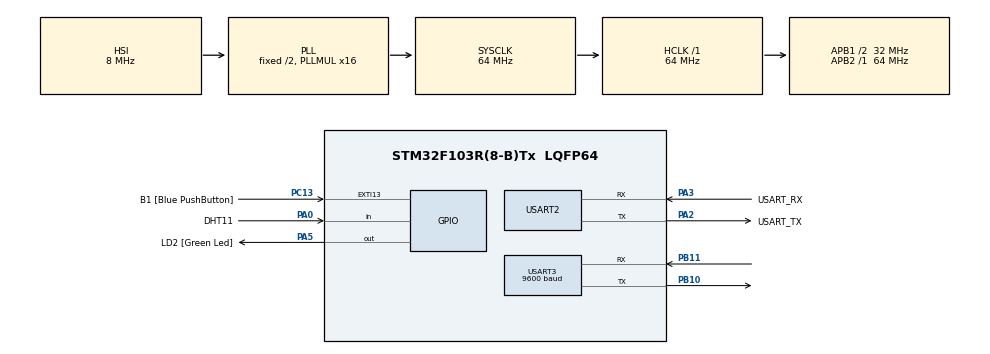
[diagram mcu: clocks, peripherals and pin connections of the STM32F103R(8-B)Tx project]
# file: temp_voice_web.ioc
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Mcu.Family=STM32F1
Mcu.Name=STM32F103R(8-B)Tx
Mcu.Package=LQFP64
NVIC.EXTI15_10_IRQn=true\:0\:0\:false\:false\:true\:true\:true\:true
NVIC.PriorityGroup=NVIC_PRIORITYGROUP_4
PA0-WKUP.GPIO_Label=DHT11
PA0-WKUP.Signal=GPIO_Input
PA13.GPIO_Label=TMS
PA13.Mode=Serial_Wire
PA13.Signal=SYS_JTMS-SWDIO
PA14.GPIO_Label=TCK
PA14.Mode=Serial_Wire
PA14.Signal=SYS_JTCK-SWCLK
PA2.GPIO_Label=USART_TX
PA2.GPIO_Mode=GPIO_MODE_AF_PP
PA2.GPIO_PuPd=GPIO_NOPULL
PA2.GPIO_Speed=GPIO_SPEED_FREQ_LOW
PA2.Mode=Asynchronous
PA2.Signal=USART2_TX
PA3.GPIO_Label=USART_RX
PA3.GPIO_Mode=GPIO_MODE_AF_PP
PA3.GPIO_PuPd=GPIO_NOPULL
PA3.GPIO_Speed=GPIO_SPEED_FREQ_LOW
PA3.Mode=Asynchronous
PA3.Signal=USART2_RX
PA5.GPIO_Label=LD2 [Green Led]
PA5.GPIO_ModeDefaultOutputPP=GPIO_MODE_OUTPUT_PP
PA5.GPIO_PuPd=GPIO_NOPULL
PA5.GPIO_Speed=GPIO_SPEED_FREQ_LOW
PA5.Signal=GPIO_Output
PB10.Mode=Asynchronous
PB10.Signal=USART3_TX
PB11.Mode=Asynchronous
PB11.Signal=USART3_RX
PB3.GPIO_Label=SWO
PB3.Signal=SYS_JTDO-TRACESWO
PC13-TAMPER-RTC.GPIO_Label=B1 [Blue PushButton]
PC13-TAMPER-RTC.GPIO_PuPd=GPIO_NOPULL
PC13-TAMPER-RTC.Signal=GPXTI13
PC14-OSC32_IN.Signal=RCC_OSC32_IN
PC15-OSC32_OUT.Signal=RCC_OSC32_OUT
PD0-OSC_IN.Signal=RCC_OSC_IN
PD1-OSC_OUT.Signal=RCC_OSC_OUT
ProjectManager.HeapSize=0x200
ProjectManager.StackSize=0x400
ProjectManager.TargetToolchain=STM32CubeIDE
RCC.AHBFreq_Value=64000000
RCC.APB1CLKDivider=RCC_HCLK_DIV2
RCC.APB1Freq_Value=32000000
RCC.APB1TimFreq_Value=64000000
RCC.APB2Freq_Value=64000000
RCC.APB2TimFreq_Value=64000000
RCC.HCLKFreq_Value=64000000
RCC.PLLMUL=RCC_PLL_MUL16
RCC.RTCClockSelection=RCC_RTCCLKSOURCE_LSE
RCC.SYSCLKFreq_VALUE=64000000
RCC.SYSCLKSource=RCC_SYSCLKSOURCE_PLLCLK
RCC.USBFreq_Value=64000000
TIM2.Prescaler=64-1
USART2.VirtualMode=VM_ASYNC
USART3.BaudRate=9600
USART3.VirtualMode=VM_ASYNC
VP_TIM2_VS_ClockSourceINT.Mode=Internal
board=NUCLEO-F103RB

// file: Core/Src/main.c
/* USER CODE BEGIN Header */
/**
  ******************************************************************************
  * @file           : main.c
  * @brief          : Main program body
  ******************************************************************************
  * @attention
  *
  * Copyright (c) 2025 STMicroelectronics.
  * All rights reserved.
  *
  * This software is licensed under terms that can be found in the LICENSE file
  * in the root directory of this software component.
  * If no LICENSE file comes with this software, it is provided AS-IS.
  *
  ******************************************************************************
  */
/* USER CODE END Header */
#include "main.h"

/* USER CODE BEGIN Includes */
#include <stdio.h>
#include <string.h>
#include "DHT11.h"
/* USER CODE END Includes */

TIM_HandleTypeDef htim2;

UART_HandleTypeDef huart2;
UART_HandleTypeDef huart3;

/* USER CODE BEGIN PV */
uint8_t rx_dat;
DHT11_Data dht11_data;
char buff[100];
/* USER CODE END PV */

void SystemClock_Config(void);
static void MX_GPIO_Init(void);
static void MX_USART2_UART_Init(void);
static void MX_TIM2_Init(void);
static void MX_USART3_UART_Init(void);
/* USER CODE BEGIN PFP */
void DHT11_SetPinOutput(void);
void DHT11_SetPinInput(void);
void DHT11_SetPin(GPIO_PinState state);
GPIO_PinState DHT11_ReadPin(void);
void DHT11_DelayUs(uint32_t us);
uint8_t DHT11_Start(void);
uint8_t DHT11_ReadBit(void);
uint8_t DHT11_ReadByte(void);
uint8_t DHT11_ReadData(DHT11_Data *data);
/* USER CODE END PFP */

int main(void)
{

  /* MCU Configuration--------------------------------------------------------*/

  /* Reset of all peripherals, Initializes the Flash interface and the Systick. */
  HAL_Init();

  /* Configure the system clock */
  SystemClock_Config();

  /* Initialize all configured peripherals */
  MX_GPIO_Init();
  MX_USART2_UART_Init();
  MX_TIM2_Init();
  MX_USART3_UART_Init();
  /* USER CODE BEGIN 2 */
  HAL_TIM_Base_Start(&htim2);
  /* USER CODE END 2 */

  /* Infinite loop */
  /* USER CODE BEGIN WHILE */
  while (1)
  {
	  HAL_UART_Receive(&huart3, &rx_dat, sizeof(rx_dat), 10);
	  if(rx_dat == '1')
	  {
		  printf("LED On\n");
		  HAL_GPIO_WritePin(LD2_GPIO_Port, LD2_Pin, 1);
	  }
	  else if(rx_dat == '0')
	  {
		  HAL_GPIO_WritePin(LD2_GPIO_Port, LD2_Pin, 0);
		  printf("LED Off\n");
	  }
	  else;
    /* USER CODE END WHILE */

    /* USER CODE BEGIN 3 */
	  sprintf(buff, "Temperature: %d°C, Humidity: %d%%\r\n",
			  dht11_data.temperature, dht11_data.humidity);
	  HAL_UART_Transmit(&huart3, (uint8_t*)buff, strlen(buff), HAL_MAX_DELAY);
//	  if (DHT11_ReadData(&dht11_data))
//	  {
//	  // 데이터 읽기 성공
//	  	sprintf(buff, "Temperature: %d°C, Humidity: %d%%\r\n",
//	  	dht11_data.temperature, dht11_data.humidity);
//	  	HAL_UART_Transmit(&huart2, (uint8_t*)buff, strlen(buff), HAL_MAX_DELAY);
//	  }
//
//	  else
//	  {
//	  // 데이터 읽기 실패
//	  	sprintf(buff, "DHT11 Read Error!\r\n");
//	  	HAL_UART_Transmit(&huart2, (uint8_t*)buff, strlen(buff), HAL_MAX_DELAY);
//	  }

	  // 2초 대기 (DHT11은 최소 2초 간격으로 읽어야 함)
	  HAL_Delay(500);
  }
  /* USER CODE END 3 */
}

void SystemClock_Config(void)
{
  RCC_OscInitTypeDef RCC_OscInitStruct = {0};
  RCC_ClkInitTypeDef RCC_ClkInitStruct = {0};

  /** Initializes the RCC Oscillators according to the specified parameters
  * in the RCC_OscInitTypeDef structure.
  */
  RCC_OscInitStruct.OscillatorType = RCC_OSCILLATORTYPE_HSI;
  RCC_OscInitStruct.HSIState = RCC_HSI_ON;
  RCC_OscInitStruct.HSICalibrationValue = RCC_HSICALIBRATION_DEFAULT;
  RCC_OscInitStruct.PLL.PLLState = RCC_PLL_ON;
  RCC_OscInitStruct.PLL.PLLSource = RCC_PLLSOURCE_HSI_DIV2;
  RCC_OscInitStruct.PLL.PLLMUL = RCC_PLL_MUL16;
  if (HAL_RCC_OscConfig(&RCC_OscInitStruct) != HAL_OK)
  {
    Error_Handler();
  }

  /** Initializes the CPU, AHB and APB buses clocks
  */
  RCC_ClkInitStruct.ClockType = RCC_CLOCKTYPE_HCLK|RCC_CLOCKTYPE_SYSCLK
                              |RCC_CLOCKTYPE_PCLK1|RCC_CLOCKTYPE_PCLK2;
  RCC_ClkInitStruct.SYSCLKSource = RCC_SYSCLKSOURCE_PLLCLK;
  RCC_ClkInitStruct.AHBCLKDivider = RCC_SYSCLK_DIV1;
  RCC_ClkInitStruct.APB1CLKDivider = RCC_HCLK_DIV2;
  RCC_ClkInitStruct.APB2CLKDivider = RCC_HCLK_DIV1;

  if (HAL_RCC_ClockConfig(&RCC_ClkInitStruct, FLASH_LATENCY_2) != HAL_OK)
  {
    Error_Handler();
  }
}

static void MX_TIM2_Init(void)
{

  TIM_ClockConfigTypeDef sClockSourceConfig = {0};
  TIM_MasterConfigTypeDef sMasterConfig = {0};

  htim2.Instance = TIM2;
  htim2.Init.Prescaler = 64-1;
  htim2.Init.CounterMode = TIM_COUNTERMODE_UP;
  htim2.Init.Period = 65535;
  htim2.Init.ClockDivision = TIM_CLOCKDIVISION_DIV1;
  htim2.Init.AutoReloadPreload = TIM_AUTORELOAD_PRELOAD_DISABLE;
  if (HAL_TIM_Base_Init(&htim2) != HAL_OK)
  {
    Error_Handler();
  }
  sClockSourceConfig.ClockSource = TIM_CLOCKSOURCE_INTERNAL;
  if (HAL_TIM_ConfigClockSource(&htim2, &sClockSourceConfig) != HAL_OK)
  {
    Error_Handler();
  }
  sMasterConfig.MasterOutputTrigger = TIM_TRGO_RESET;
  sMasterConfig.MasterSlaveMode = TIM_MASTERSLAVEMODE_DISABLE;
  if (HAL_TIMEx_MasterConfigSynchronization(&htim2, &sMasterConfig) != HAL_OK)
  {
    Error_Handler();
  }

}

static void MX_USART2_UART_Init(void)
{

  huart2.Instance = USART2;
  huart2.Init.BaudRate = 115200;
  huart2.Init.WordLength = UART_WORDLENGTH_8B;
  huart2.Init.StopBits = UART_STOPBITS_1;
  huart2.Init.Parity = UART_PARITY_NONE;
  huart2.Init.Mode = UART_MODE_TX_RX;
  huart2.Init.HwFlowCtl = UART_HWCONTROL_NONE;
  huart2.Init.OverSampling = UART_OVERSAMPLING_16;
  if (HAL_UART_Init(&huart2) != HAL_OK)
  {
    Error_Handler();
  }

}

static void MX_USART3_UART_Init(void)
{

  huart3.Instance = USART3;
  huart3.Init.BaudRate = 9600;
  huart3.Init.WordLength = UART_WORDLENGTH_8B;
  huart3.Init.StopBits = UART_STOPBITS_1;
  huart3.Init.Parity = UART_PARITY_NONE;
  huart3.Init.Mode = UART_MODE_TX_RX;
  huart3.Init.HwFlowCtl = UART_HWCONTROL_NONE;
  huart3.Init.OverSampling = UART_OVERSAMPLING_16;
  if (HAL_UART_Init(&huart3) != HAL_OK)
  {
    Error_Handler();
  }

}

static void MX_GPIO_Init(void)
{
  GPIO_InitTypeDef GPIO_InitStruct = {0};

  /* GPIO Ports Clock Enable */
  __HAL_RCC_GPIOC_CLK_ENABLE();
  __HAL_RCC_GPIOD_CLK_ENABLE();
  __HAL_RCC_GPIOA_CLK_ENABLE();
  __HAL_RCC_GPIOB_CLK_ENABLE();

  /*Configure GPIO pin Output Level */
  HAL_GPIO_WritePin(LD2_GPIO_Port, LD2_Pin, GPIO_PIN_RESET);

  /*Configure GPIO pin : B1_Pin */
  GPIO_InitStruct.Pin = B1_Pin;
  GPIO_InitStruct.Mode = GPIO_MODE_IT_RISING;
  GPIO_InitStruct.Pull = GPIO_NOPULL;
  HAL_GPIO_Init(B1_GPIO_Port, &GPIO_InitStruct);

  /*Configure GPIO pin : DHT11_Pin */
  GPIO_InitStruct.Pin = DHT11_Pin;
  GPIO_InitStruct.Mode = GPIO_MODE_INPUT;
  GPIO_InitStruct.Pull = GPIO_NOPULL;
  HAL_GPIO_Init(DHT11_GPIO_Port, &GPIO_InitStruct);

  /*Configure GPIO pin : LD2_Pin */
  GPIO_InitStruct.Pin = LD2_Pin;
  GPIO_InitStruct.Mode = GPIO_MODE_OUTPUT_PP;
  GPIO_InitStruct.Pull = GPIO_NOPULL;
  GPIO_InitStruct.Speed = GPIO_SPEED_FREQ_LOW;
  HAL_GPIO_Init(LD2_GPIO_Port, &GPIO_InitStruct);

  /* EXTI interrupt init*/
  HAL_NVIC_SetPriority(EXTI15_10_IRQn, 0, 0);
  HAL_NVIC_EnableIRQ(EXTI15_10_IRQn);

}

void Error_Handler(void)
{
  __disable_irq();
  while (1)
  {
  }
}
